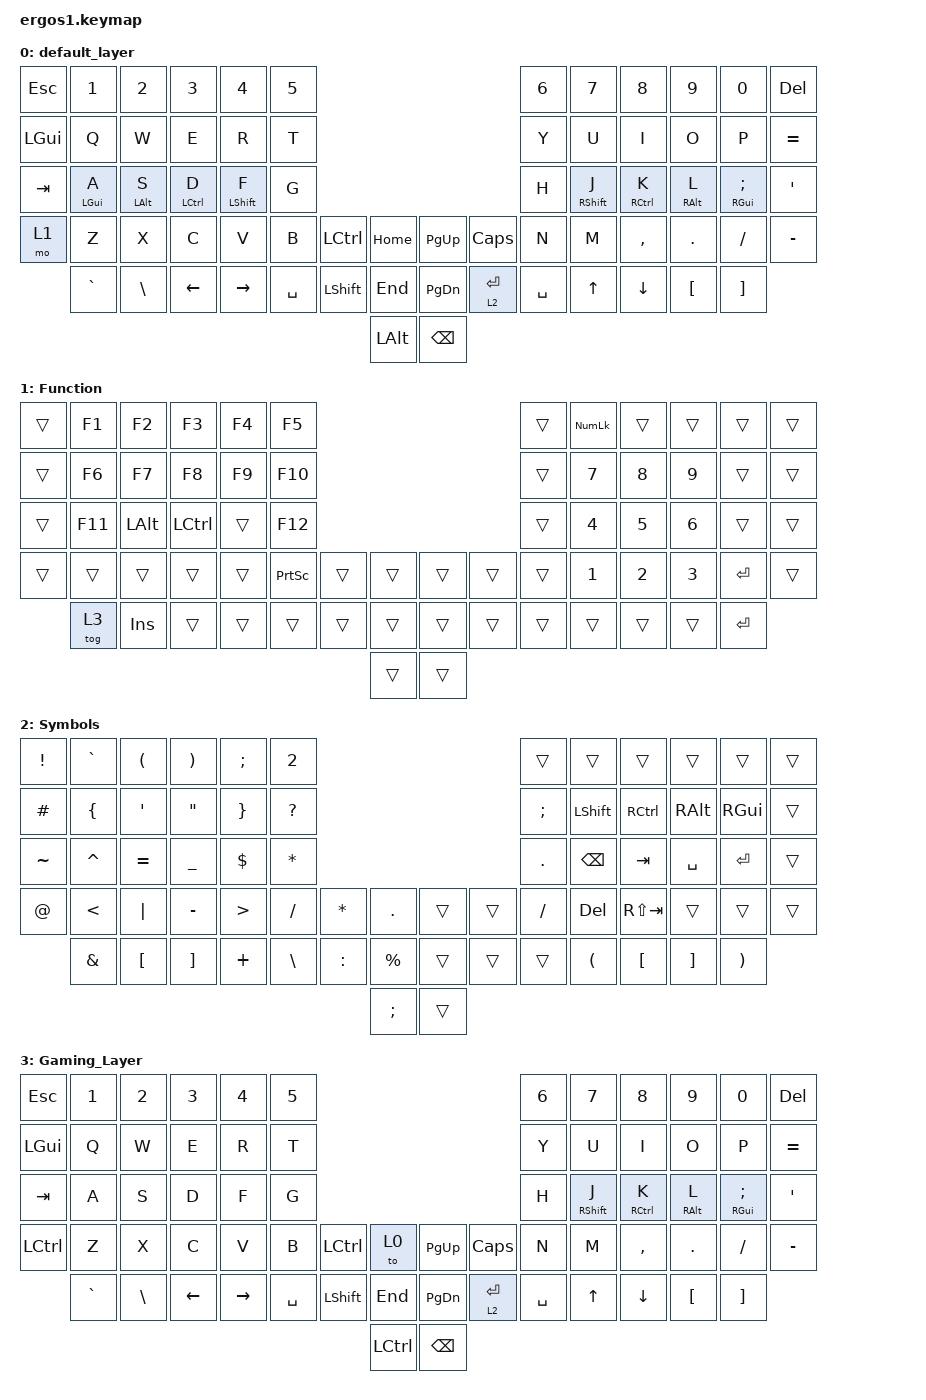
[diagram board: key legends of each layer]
/*
 * Copyright (c) 2021 The ZMK Contributors
 *
 * SPDX-License-Identifier: MIT
 */

#include <behaviors.dtsi>
#include <dt-bindings/zmk/keys.h>

#define DEFAULT 0
#define FN  1

/ {
    behaviors {
        hm: homerow_mods {
            compatible = "zmk,behavior-hold-tap";
            label = "HOMEROW_MODS";
            #binding-cells = <2>;
            tapping-term-ms = <300>;
            quick_tap_ms = <0>;
            flavor = "balanced";
            bindings = <&kp>, <&kp>;

            quick-tap-ms = <175>;
            hold-trigger-on-release;
        };
    };

    combos {
        compatible = "zmk,combos";

        combo_esc {
            timeout-ms = <50>;
            key-positions = <0 1>;
            bindings = <&kp ESC>;
        };
    };

    keymap {
        compatible = "zmk,keymap";

        default_layer {
            // ---------------------------------------------------------------------------------------------------------------------------------
            // | ESC  |  1   |  2   |  3   |  4   |  5   |                                                   |  6   |  7   |  8   |  9   |  0   | BSPC |
            // | WIN  |  Q   |  W   |  E   |  R   |  T   |                                                   |  Y   |  U   |  I   |  O   |  P   | EQL  |
            // | TAB  |  A   |  S   |  D   |  F   |  G   |                                                   |  H   |  J   |  K   |  L   | SCLN | QUOT |
            // | LCTL |  Z   |  X   |  C   |  V   |  B   |      | CTL  | ALT  |         | CAPS | CTL  |      |  N   |  M   | COMM | DOT  | SLSH | MINS |
            //        | GRV  | BSLS | LEFT | RGHT |      | SHFT |  FN  | HOME |         | PGUP | ENT  | SPC  |      |  UP  |  DN  | LBKT | RBKT |
            //                                                         | END  |         | PGDN |

            bindings = <
&kp ESC   &kp N1          &kp N2          &kp N3              &kp N4            &kp N5                                                                 &kp N6     &kp N7             &kp N8               &kp N9           &kp N0              &kp DELETE
&kp LGUI  &kp Q           &kp W           &kp E               &kp R             &kp T                                                                  &kp Y      &kp U              &kp I                &kp O            &kp P               &kp EQUAL
&kp TAB   &hm LEFT_GUI A  &hm LEFT_ALT S  &hm LEFT_CONTROL D  &hm LEFT_SHIFT F  &kp G                                                                  &kp H      &hm RIGHT_SHIFT J  &hm RIGHT_CONTROL K  &hm RIGHT_ALT L  &hm RIGHT_GUI SEMI  &kp SQT
&mo 1     &kp Z           &kp X           &kp C               &kp V             &kp B      &kp LCTRL       &kp HOME        &kp PAGE_UP    &kp CAPS     &kp N      &kp M              &kp COMMA            &kp PERIOD       &kp SLASH           &kp MINUS
          &kp GRAVE       &kp BSLH        &kp LEFT            &kp RIGHT         &kp SPACE  &kp LEFT_SHIFT  &kp END         &kp PAGE_DOWN  &lt 2 ENTER  &kp SPACE  &kp UP             &kp DOWN             &kp LBKT         &kp RBKT
                                                                                                           &kp LEFT_ALT    &kp BACKSPACE
            >;
        };

        Function {
            bindings = <
&trans  &kp F1   &kp F2        &kp F3     &kp F4  &kp F5                                             &trans  &kp KP_NUMLOCK  &trans  &trans  &trans     &trans
&trans  &kp F6   &kp F7        &kp F8     &kp F9  &kp F10                                            &trans  &kp N7          &kp N8  &kp N9  &trans     &trans
&trans  &kp F11  &kp LEFT_ALT  &kp LCTRL  &trans  &kp F12                                            &trans  &kp N4          &kp N5  &kp N6  &trans     &trans
&trans  &trans   &trans        &trans     &trans  &kp PRINTSCREEN  &trans  &trans    &trans  &trans  &trans  &kp N1          &kp N2  &kp N3  &kp ENTER  &trans
        &tog 3   &kp INSERT    &trans     &trans  &trans           &trans  &trans    &trans  &trans  &trans  &trans          &trans  &trans  &kp ENTER
                                                                           &trans    &trans
            >;
        };

        Symbols {
            bindings = <
&kp EXCL   &kp GRAVE       &kp LEFT_PARENTHESIS  &kp RIGHT_PARENTHESIS  &kp SEMI          &kp N2                                                   &trans      &trans                &trans            &trans             &trans                 &trans
&kp HASH   &kp LEFT_BRACE  &kp SQT               &kp DQT                &kp RIGHT_BRACE   &kp QUESTION                                             &kp SEMI    &kp LEFT_SHIFT        &kp RCTRL         &kp RIGHT_ALT      &kp RIGHT_GUI          &trans
&kp TILDE  &kp CARET       &kp EQUAL             &kp UNDER              &kp DOLLAR        &kp ASTERISK                                             &kp PERIOD  &kp BACKSPACE         &kp TAB           &kp SPACE          &kp ENTER              &trans
&kp AT     &kp LESS_THAN   &kp PIPE              &kp MINUS              &kp GREATER_THAN  &kp SLASH      &kp ASTRK  &kp PERIOD     &trans  &trans  &kp SLASH   &kp DELETE            &kp RS(TAB)       &trans             &trans                 &trans
           &kp AMPERSAND   &kp LEFT_BRACKET      &kp RIGHT_BRACKET      &kp PLUS          &kp BACKSLASH  &kp COLON  &kp PERCENT    &trans  &trans  &trans      &kp LEFT_PARENTHESIS  &kp LEFT_BRACKET  &kp RIGHT_BRACKET  &kp RIGHT_PARENTHESIS
                                                                                                                    &kp SEMI       &trans
            >;
        };

        Gaming_Layer {
            bindings = <
&kp ESC           &kp N1     &kp N2    &kp N3    &kp N4     &kp N5                                                                     &kp N6     &kp N7             &kp N8               &kp N9           &kp N0              &kp DELETE
&kp LGUI          &kp Q      &kp W     &kp E     &kp R      &kp T                                                                      &kp Y      &kp U              &kp I                &kp O            &kp P               &kp EQUAL
&kp TAB           &kp A      &kp S     &kp D     &kp F      &kp G                                                                      &kp H      &hm RIGHT_SHIFT J  &hm RIGHT_CONTROL K  &hm RIGHT_ALT L  &hm RIGHT_GUI SEMI  &kp SQT
&kp LEFT_CONTROL  &kp Z      &kp X     &kp C     &kp V      &kp B      &kp LCTRL       &to 0               &kp PAGE_UP    &kp CAPS     &kp N      &kp M              &kp COMMA            &kp PERIOD       &kp SLASH           &kp MINUS
                  &kp GRAVE  &kp BSLH  &kp LEFT  &kp RIGHT  &kp SPACE  &kp LEFT_SHIFT  &kp END             &kp PAGE_DOWN  &lt 2 ENTER  &kp SPACE  &kp UP             &kp DOWN             &kp LBKT         &kp RBKT
                                                                                       &kp LEFT_CONTROL    &kp BACKSPACE
            >;
        };
    };
};
